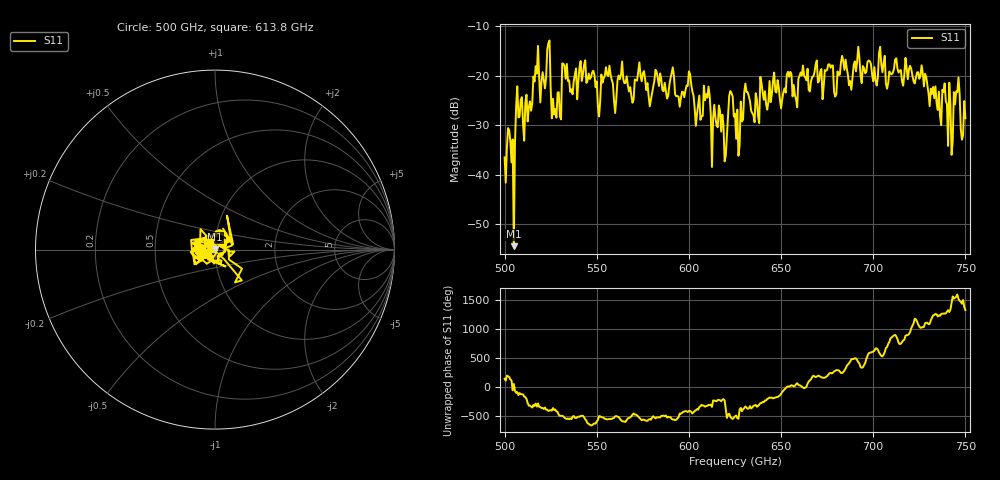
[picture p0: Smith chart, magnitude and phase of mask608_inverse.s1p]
!Created with skrf (http://scikit-rf.org).
# GHz S MA R 50.0
!freq magS11 angS11
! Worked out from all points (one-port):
!   401 points, 500 GHz to 750 GHz, reference 50 ohm
!   lowest |S11| = -54.5 dB at 505 GHz (marker M1), VSWR 1.00, Z = 50.1 + j0.14 ohm
!   |S11| at or under -10 dB: start of sweep to end of sweep
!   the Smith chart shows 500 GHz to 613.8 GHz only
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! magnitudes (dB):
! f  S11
! 500 GHz  -36.5
! 505 GHz  -54.5
! 507.5 GHz  -28.4
! 513.8 GHz  -25.2
! 516.9 GHz  -18.1
! 520.6 GHz  -19.3
! 523.8 GHz  -13.4
! 526.9 GHz  -27.8
! 531.2 GHz  -17.5
! 556.2 GHz  -20.0
! 560 GHz  -27.5
! 562.5 GHz  -20.7
! 593.8 GHz  -24.1
! 609.4 GHz  -23.7
! 619.4 GHz  -37.3
! 622.5 GHz  -23.1
! 625 GHz  -27.7
! 656.2 GHz  -24.2
! 676.9 GHz  -18.4
! 680 GHz  -23.7
! 683.8 GHz  -17.1
! 687.5 GHz  -21.1
! 691.2 GHz  -17.1
! 718.8 GHz  -20.7
! 738.8 GHz  -21.5
! 741.9 GHz  -25.8
! 745 GHz  -23.2
! 750 GHz  -28.6
